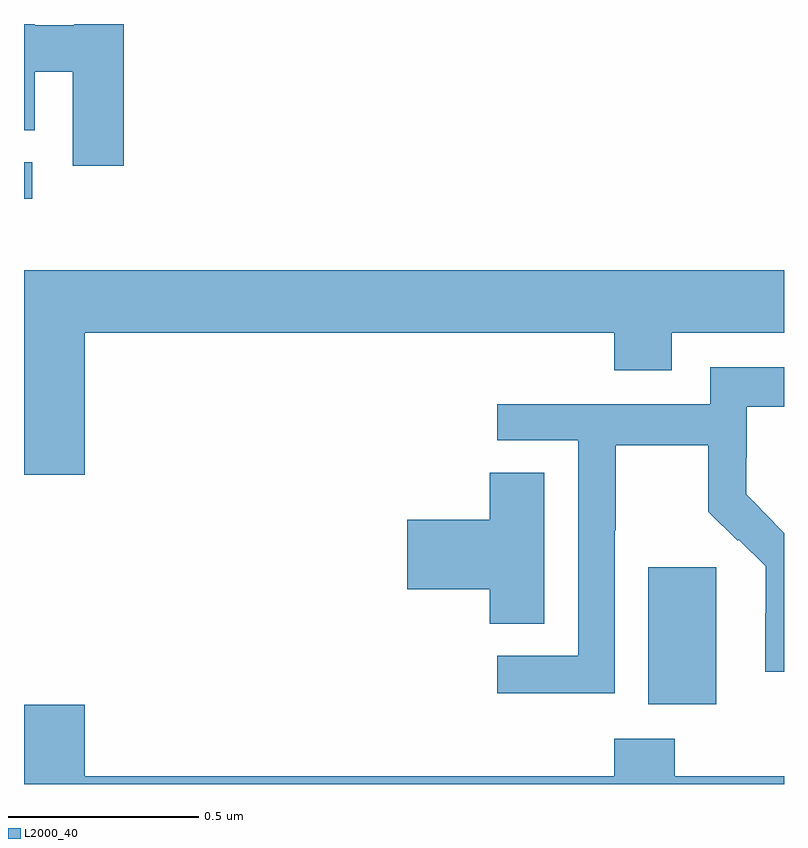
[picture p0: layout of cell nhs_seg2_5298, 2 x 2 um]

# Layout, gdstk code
import gdstk
lib = gdstk.Library(unit=1e-6, precision=1e-09)
def R(c, l, rs):  # rectangles x0, y0, x1, y1
    for r in rs: c.add(gdstk.rectangle(r[:2], r[2:], *l))
def P(c, l, *ps):  # polygons
    for p in ps: c.add(gdstk.Polygon(p, *l))
L2000_40 = (2000, 40)

nhs_seg2_5298 = lib.new_cell('nhs_seg2_5298')
R(nhs_seg2_5298, L2000_40, [(178.643,628.01,178.822,628.371), (177,629.34,177.022,629.436)])
P(nhs_seg2_5298, L2000_40, [(177.263,629.8),(177.132,629.8),(177.132,629.797),(177.028,629.797),(177.028,629.8),(177,629.8),(177,629.521),(177.028,629.521),(177.028,629.675),(177.128,629.675),(177.128,629.427),(177.263,629.427)],
  [(177.16,628.988),(178.553,628.988),(178.553,628.889),(178.705,628.889),(178.705,628.988),(179,628.988),(179,629.152),(177,629.152),(177,628.614),(177.16,628.614)],
  [(178.554,628.468),(178.557,628.468),(178.557,628.692),(178.801,628.692),(178.801,628.517),(178.878,628.44),(178.881,628.443),(178.952,628.373),(178.952,628.25),(178.95,628.25),(178.95,628.096),(179,628.096),(179,628.46),(178.973,628.487),(178.974,628.488),(178.9,628.562),(178.9,628.659),(178.902,628.659),(178.902,628.793),(179,628.793),(179,628.897),(178.806,628.897),(178.806,628.8),(178.245,628.8),(178.245,628.704),(178.458,628.704),(178.458,628.137),(178.245,628.137),(178.245,628.039),(178.554,628.039)],
  [(178.369,628.619),(178.226,628.619),(178.226,628.496),(178.008,628.496),(178.008,628.313),(178.226,628.313),(178.226,628.222),(178.369,628.222)],
  [(179,627.82),(178.713,627.82),(178.713,627.919),(178.553,627.919),(178.553,627.82),(177.16,627.82),(177.16,628.009),(177,628.009),(177,627.8),(179,627.8)])

lib.write_gds('nhs_seg2_5298.gds')
